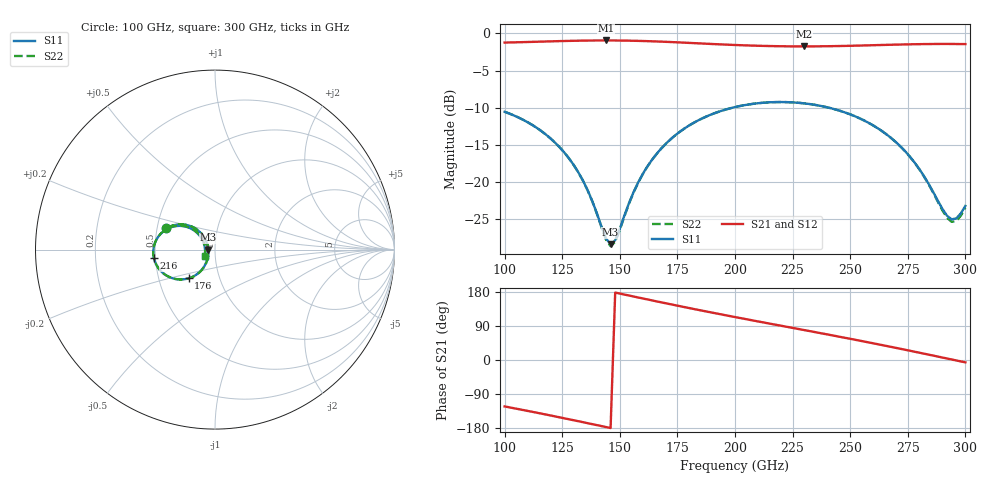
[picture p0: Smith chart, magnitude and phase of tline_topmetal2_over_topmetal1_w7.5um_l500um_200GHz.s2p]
#  GHZ S DB R 50
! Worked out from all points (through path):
!   101 points, 100 GHz to 300 GHz, reference 50 ohm
!   highest |S21| = -0.94 dB at 144 GHz (marker M1); lowest = -1.7 dB at 230 GHz (marker M2)
!   group delay of S21, straight-line fit = 3.36 ps
!   lowest |S11| = -28.5 dB at 146 GHz (marker M3), VSWR 1.08, Z = 46.4 - j0.106 ohm
!   |S11| at or under -10 dB: start of sweep to 199.2 GHz; 240.4 GHz to end of sweep
!   |S22| runs from -28.7 to -9.3 dB; largest |S21 - S12| = 1e-13
!   S11 on the Smith chart (normalised r, x): 100 GHz: 0.56, +0.14; 176 GHz: 0.71, -0.24; 216 GHz: 0.49, -0.05; 300 GHz: 0.89, -0.07
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100  -10.58 156.6  -1.23 -122.5  -1.23 -122.5  -10.57 156.5
120  -14.19 137.1  -1.06 -146.5  -1.06 -146.5  -14.19 136.8
128  -16.89 131.6  -1.00 -156.5  -1.00 -156.5  -16.89 131.2
134  -19.86 130.7  -0.96 -164.1  -0.96 -164.1  -19.88 130.2
138  -22.59 134.5  -0.95 -169.2  -0.95 -169.2  -22.63 133.7
144  -27.67 161.9  -0.94 -176.9  -0.94 -176.9  -27.84 161.1
146  -28.49 -178.3  -0.94 -179.5  -0.94 -179.5  -28.72 -178.6
148  -27.92 -157.7  -0.95 177.9  -0.95 177.9  -28.14 -157.4
158  -20.09 -123.1  -1.00 165.0  -1.00 165.0  -20.14 -122.6
168  -15.52 -126.0  -1.10 152.2  -1.10 152.2  -15.54 -125.7
176  -13.28 -132.5  -1.21 142.1  -1.21 142.1  -13.29 -132.3
188  -11.15 -144.0  -1.39 127.5  -1.39 127.5  -11.15 -143.9
200  -9.94 -156.0  -1.55 113.3  -1.55 113.3  -9.94 -155.9
216  -9.28 -172.0  -1.70 94.9  -1.70 94.9  -9.28 -172.0
230  -9.43 174.3  -1.74 79.0  -1.74 79.0  -9.43 174.2
234  -9.60 170.4  -1.74 74.5  -1.74 74.5  -9.60 170.3
252  -11.17 153.4  -1.65 53.6  -1.65 53.6  -11.17 153.2
268  -14.17 140.6  -1.52 34.3  -1.52 34.3  -14.18 140.1
280  -18.31 137.4  -1.44 19.3  -1.44 19.3  -18.34 136.5
292  -24.60 166.4  -1.41 4.0  -1.41 4.0  -24.88 165.3
296  -24.98 -168.0  -1.42 -1.1  -1.42 -1.1  -25.33 -168.0
300  -23.28 -147.2  -1.43 -6.3  -1.43 -6.3  -23.54 -146.4
